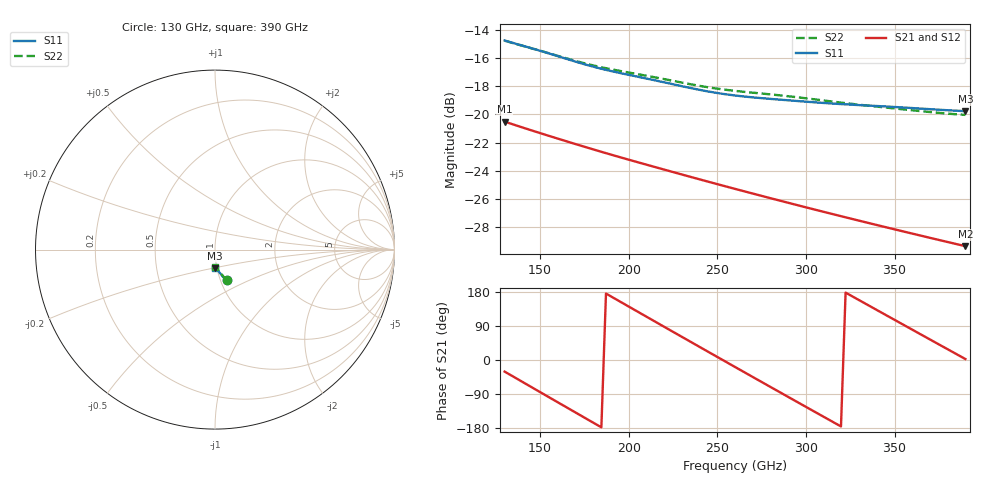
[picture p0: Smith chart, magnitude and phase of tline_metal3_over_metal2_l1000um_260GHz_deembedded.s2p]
! Created with skrf 2.2.0 (http://scikit-rf.org).
# GHz S DB R 50.0
! Port[1] = P1
! Port[2] = P2
!freq dBS11 angS11 dBS21 angS21 dBS12 angS12 dBS22 angS22
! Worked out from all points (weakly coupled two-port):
!   101 points, 130 GHz to 390 GHz, reference 50 ohm
!   highest |S21| = -20.50 dB at 130 GHz (marker M1); lowest = -29.3 dB at 390 GHz (marker M2)
!   lowest |S11| = -19.8 dB at 390 GHz (marker M3), VSWR 1.23, Z = 48.7 - j10.1 ohm
!   |S11| at or under -10 dB: start of sweep to end of sweep
!   |S22| runs from -20.0 to -14.8 dB; largest |S21 - S12| = 1.2e-13
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130  -14.75 -68.9  -20.50 -30.6  -20.50 -30.6  -14.77 -68.1
140.4  -15.13 -70.2  -20.93 -58.7  -20.93 -58.7  -15.14 -69.2
150.8  -15.51 -71.8  -21.35 -86.8  -21.35 -86.8  -15.51 -70.6
161.2  -15.91 -73.3  -21.76 -114.8  -21.76 -114.8  -15.89 -71.9
174.2  -16.41 -74.8  -22.26 -149.8  -22.26 -149.8  -16.34 -73.2
182  -16.68 -75.5  -22.55 -170.7  -22.55 -170.7  -16.58 -73.9
192.4  -16.99 -76.3  -22.93 161.5  -22.93 161.5  -16.85 -74.7
205.4  -17.33 -77.6  -23.39 126.7  -23.39 126.7  -17.15 -76.0
218.4  -17.68 -78.8  -23.85 92.0  -23.85 92.0  -17.45 -77.4
228.8  -17.96 -79.7  -24.21 64.3  -24.21 64.3  -17.71 -78.4
241.8  -18.30 -80.5  -24.66 29.8  -24.66 29.8  -18.01 -79.3
249.6  -18.47 -80.8  -24.92 9.2  -24.92 9.2  -18.16 -79.8
260  -18.65 -81.1  -25.27 -18.4  -25.27 -18.4  -18.33 -80.4
270.4  -18.79 -81.5  -25.62 -45.8  -25.62 -45.8  -18.46 -81.2
280.8  -18.90 -82.1  -25.96 -73.2  -25.96 -73.2  -18.59 -82.1
291.2  -19.01 -82.8  -26.30 -100.5  -26.30 -100.5  -18.72 -83.2
304.2  -19.13 -83.8  -26.71 -134.6  -26.71 -134.6  -18.92 -84.5
314.6  -19.22 -84.5  -27.04 -161.8  -27.04 -161.8  -19.08 -85.4
325  -19.30 -85.3  -27.37 171.1  -27.37 171.1  -19.23 -86.2
348.4  -19.46 -87.5  -28.09 110.2  -28.09 110.2  -19.55 -87.8
366.6  -19.60 -89.2  -28.64 63.0  -28.64 63.0  -19.79 -88.9
390  -19.76 -91.2  -29.33 2.5  -29.33 2.5  -20.03 -89.7
